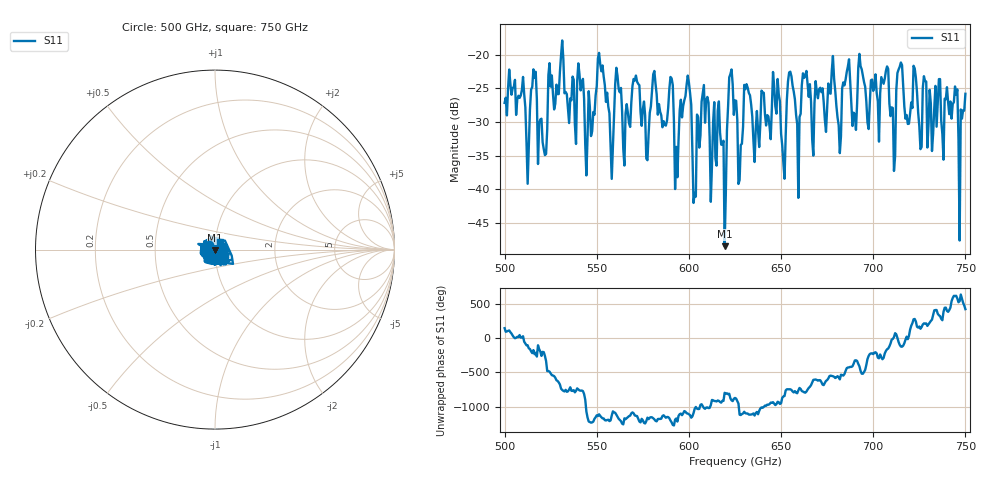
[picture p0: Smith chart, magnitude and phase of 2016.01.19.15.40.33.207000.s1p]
!Created with skrf (http://scikit-rf.org).
# GHz S RI R 50.0
!freq ReS11 ImS11
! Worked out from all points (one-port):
!   401 points, 500 GHz to 750 GHz, reference 50 ohm
!   lowest |S11| = -48.4 dB at 619.4 GHz (marker M1), VSWR 1.01, Z = 50.1 - j0.374 ohm
!   |S11| at or under -10 dB: start of sweep to end of sweep
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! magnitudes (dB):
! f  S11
! 500 GHz  -27.1
! 512.5 GHz  -39.2
! 515.6 GHz  -22.2
! 521.9 GHz  -34.9
! 531.2 GHz  -17.9
! 545 GHz  -32.2
! 551.9 GHz  -21.4
! 558.1 GHz  -38.4
! 562.5 GHz  -25.6
! 590 GHz  -23.3
! 593.8 GHz  -38.2
! 599.4 GHz  -23.1
! 602.5 GHz  -42.0
! 608.8 GHz  -30.1
! 619.4 GHz  -48.4
! 622.5 GHz  -22.9
! 625 GHz  -26.8
! 628.1 GHz  -33.4
! 631.2 GHz  -24.4
! 646.9 GHz  -27.6
! 651.2 GHz  -36.1
! 656.2 GHz  -24.6
! 659.4 GHz  -41.3
! 662.5 GHz  -23.4
! 687.5 GHz  -24.0
! 714.4 GHz  -21.8
! 718.8 GHz  -30.3
! 750 GHz  -25.8
